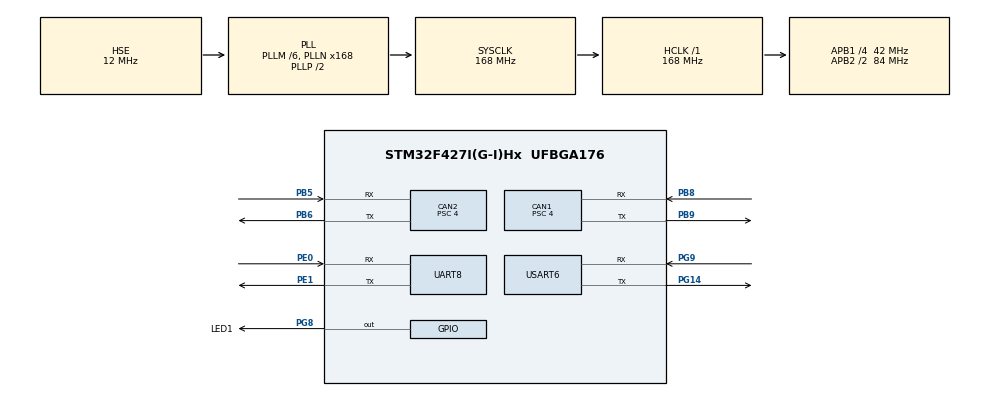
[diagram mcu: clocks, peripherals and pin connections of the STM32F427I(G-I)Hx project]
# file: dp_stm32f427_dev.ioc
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CAN1.BS1=CAN_BS1_7TQ
CAN1.BS2=CAN_BS2_3TQ
CAN1.CalculateBaudRate=954545
CAN1.CalculateTimeBit=1047
CAN1.CalculateTimeQuantum=95.23809523809524
CAN1.Mode=CAN_MODE_LOOPBACK
CAN1.NART=ENABLE
CAN1.Prescaler=4
CAN1.TTCM=DISABLE
CAN1.TXFP=ENABLE
CAN2.BS1=CAN_BS1_7TQ
CAN2.BS2=CAN_BS2_3TQ
CAN2.CalculateBaudRate=954545
CAN2.CalculateTimeBit=1047
CAN2.CalculateTimeQuantum=95.23809523809524
CAN2.Mode=CAN_MODE_SILENT_LOOPBACK
CAN2.NART=ENABLE
CAN2.Prescaler=4
CAN2.TXFP=ENABLE
Dma.Request0=USART6_RX
Dma.Request1=USART6_TX
Dma.Request2=UART8_RX
Dma.Request3=UART8_TX
Dma.UART8_RX.2.Direction=DMA_PERIPH_TO_MEMORY
Dma.UART8_RX.2.FIFOMode=DMA_FIFOMODE_DISABLE
Dma.UART8_RX.2.Instance=DMA1_Stream6
Dma.UART8_RX.2.MemDataAlignment=DMA_MDATAALIGN_BYTE
Dma.UART8_RX.2.MemInc=DMA_MINC_ENABLE
Dma.UART8_RX.2.Mode=DMA_NORMAL
Dma.UART8_RX.2.PeriphDataAlignment=DMA_PDATAALIGN_BYTE
Dma.UART8_RX.2.PeriphInc=DMA_PINC_DISABLE
Dma.UART8_RX.2.Priority=DMA_PRIORITY_LOW
Dma.UART8_TX.3.Direction=DMA_MEMORY_TO_PERIPH
Dma.UART8_TX.3.FIFOMode=DMA_FIFOMODE_DISABLE
Dma.UART8_TX.3.Instance=DMA1_Stream0
Dma.UART8_TX.3.MemDataAlignment=DMA_MDATAALIGN_BYTE
Dma.UART8_TX.3.MemInc=DMA_MINC_ENABLE
Dma.UART8_TX.3.Mode=DMA_NORMAL
Dma.UART8_TX.3.PeriphDataAlignment=DMA_PDATAALIGN_BYTE
Dma.UART8_TX.3.PeriphInc=DMA_PINC_DISABLE
Dma.UART8_TX.3.Priority=DMA_PRIORITY_LOW
Dma.USART6_RX.0.Direction=DMA_PERIPH_TO_MEMORY
Dma.USART6_RX.0.FIFOMode=DMA_FIFOMODE_DISABLE
Dma.USART6_RX.0.Instance=DMA2_Stream1
Dma.USART6_RX.0.MemDataAlignment=DMA_MDATAALIGN_BYTE
Dma.USART6_RX.0.MemInc=DMA_MINC_ENABLE
Dma.USART6_RX.0.Mode=DMA_NORMAL
Dma.USART6_RX.0.PeriphDataAlignment=DMA_PDATAALIGN_BYTE
Dma.USART6_RX.0.PeriphInc=DMA_PINC_DISABLE
Dma.USART6_RX.0.Priority=DMA_PRIORITY_LOW
Dma.USART6_TX.1.Direction=DMA_MEMORY_TO_PERIPH
Dma.USART6_TX.1.FIFOMode=DMA_FIFOMODE_DISABLE
Dma.USART6_TX.1.Instance=DMA2_Stream7
Dma.USART6_TX.1.MemDataAlignment=DMA_MDATAALIGN_BYTE
Dma.USART6_TX.1.MemInc=DMA_MINC_ENABLE
Dma.USART6_TX.1.Mode=DMA_NORMAL
Dma.USART6_TX.1.PeriphDataAlignment=DMA_PDATAALIGN_BYTE
Dma.USART6_TX.1.PeriphInc=DMA_PINC_DISABLE
Dma.USART6_TX.1.Priority=DMA_PRIORITY_LOW
FREERTOS.Tasks01=defaultTask,24,512,StartDefaultTask,Default,NULL,Dynamic,NULL,NULL
FREERTOS.configMINIMAL_STACK_SIZE=128
FREERTOS.configQUEUE_REGISTRY_SIZE=20
FREERTOS.configTOTAL_HEAP_SIZE=15360*2
Mcu.Family=STM32F4
Mcu.Name=STM32F427I(G-I)Hx
Mcu.Package=UFBGA176
NVIC.DMA1_Stream0_IRQn=true\:5\:0\:false\:false\:true\:true\:false\:true\:true
NVIC.DMA1_Stream6_IRQn=true\:5\:0\:false\:false\:true\:true\:false\:true\:true
NVIC.DMA2_Stream1_IRQn=true\:5\:0\:false\:false\:true\:true\:false\:true\:true
NVIC.DMA2_Stream7_IRQn=true\:5\:0\:false\:false\:true\:true\:false\:true\:true
NVIC.FPU_IRQn=true\:5\:0\:false\:false\:true\:true\:true\:false\:true
NVIC.PriorityGroup=NVIC_PRIORITYGROUP_4
NVIC.UART8_IRQn=true\:5\:0\:false\:false\:false\:true\:true\:true\:true
NVIC.USART6_IRQn=true\:5\:0\:false\:false\:false\:true\:true\:true\:true
PA13.Mode=Serial_Wire
PA13.Signal=SYS_JTMS-SWDIO
PA14.Mode=Serial_Wire
PA14.Signal=SYS_JTCK-SWCLK
PB5.Mode=CAN_Activate
PB5.Signal=CAN2_RX
PB6.Mode=CAN_Activate
PB6.Signal=CAN2_TX
PB8.Mode=CAN_Activate
PB8.Signal=CAN1_RX
PB9.Mode=CAN_Activate
PB9.Signal=CAN1_TX
PD8.Signal=USART3_TX
PD9.Signal=USART3_RX
PE0.Mode=Asynchronous
PE0.Signal=UART8_RX
PE1.Mode=Asynchronous
PE1.Signal=UART8_TX
PE7.Signal=UART7_RX
PE8.Signal=UART7_TX
PG14.Mode=Asynchronous
PG14.Signal=USART6_TX
PG8.GPIO_Label=LED1
PG8.Signal=GPIO_Output
PG9.Mode=Asynchronous
PG9.Signal=USART6_RX
PH0/OSC_IN.Mode=HSE-External-Oscillator
PH0/OSC_IN.Signal=RCC_OSC_IN
PH1/OSC_OUT.Mode=HSE-External-Oscillator
PH1/OSC_OUT.Signal=RCC_OSC_OUT
ProjectManager.HeapSize=0x200
ProjectManager.StackSize=0x400
ProjectManager.TargetToolchain=CMake
RCC.48MHZClocksFreq_Value=84000000
RCC.AHBFreq_Value=168000000
RCC.APB1CLKDivider=RCC_HCLK_DIV4
RCC.APB1Freq_Value=42000000
RCC.APB1TimFreq_Value=84000000
RCC.APB2CLKDivider=RCC_HCLK_DIV2
RCC.APB2Freq_Value=84000000
RCC.APB2TimFreq_Value=168000000
RCC.CortexFreq_Value=168000000
RCC.HCLKFreq_Value=168000000
RCC.HSE_VALUE=12000000
RCC.HSI_VALUE=16000000
RCC.LSE_VALUE=32768
RCC.PLLM=6
RCC.PLLN=168
RCC.PLLSourceVirtual=RCC_PLLSOURCE_HSE
RCC.SYSCLKFreq_VALUE=168000000
RCC.SYSCLKSource=RCC_SYSCLKSOURCE_PLLCLK
RCC.VCOOutputFreq_Value=336000000
UART8.VirtualMode=Asynchronous
USART6.VirtualMode=VM_ASYNC
VP_FREERTOS_VS_CMSIS_V2.Mode=CMSIS_V2
board=custom

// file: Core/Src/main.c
/* USER CODE BEGIN Header */
/* USER CODE END Header */
#include "main.h"
#include "cmsis_os.h"
#include "can.h"
#include "dma.h"
#include "usart.h"
#include "gpio.h"

void SystemClock_Config(void);
void MX_FREERTOS_Init(void);

int main(void)
{

  /* MCU Configuration--------------------------------------------------------*/

  /* Reset of all peripherals, Initializes the Flash interface and the Systick. */
  HAL_Init();

  /* Configure the system clock */
  SystemClock_Config();

  /* Initialize all configured peripherals */
  MX_GPIO_Init();
  MX_DMA_Init();
  MX_USART6_UART_Init();
  MX_UART8_Init();
  MX_CAN1_Init();
  MX_CAN2_Init();

  /* Init scheduler */
  osKernelInitialize();

  /* Call init function for freertos objects (in cmsis_os2.c) */
  MX_FREERTOS_Init();

  /* Start scheduler */
  osKernelStart();

  /* We should never get here as control is now taken by the scheduler */

  /* Infinite loop */

}

void SystemClock_Config(void)
{
  RCC_OscInitTypeDef RCC_OscInitStruct = {0};
  RCC_ClkInitTypeDef RCC_ClkInitStruct = {0};

  /** Configure the main internal regulator output voltage
  */
  __HAL_RCC_PWR_CLK_ENABLE();
  __HAL_PWR_VOLTAGESCALING_CONFIG(PWR_REGULATOR_VOLTAGE_SCALE1);

  /** Initializes the RCC Oscillators according to the specified parameters
  * in the RCC_OscInitTypeDef structure.
  */
  RCC_OscInitStruct.OscillatorType = RCC_OSCILLATORTYPE_HSE;
  RCC_OscInitStruct.HSEState = RCC_HSE_ON;
  RCC_OscInitStruct.PLL.PLLState = RCC_PLL_ON;
  RCC_OscInitStruct.PLL.PLLSource = RCC_PLLSOURCE_HSE;
  RCC_OscInitStruct.PLL.PLLM = 6;
  RCC_OscInitStruct.PLL.PLLN = 168;
  RCC_OscInitStruct.PLL.PLLP = RCC_PLLP_DIV2;
  RCC_OscInitStruct.PLL.PLLQ = 4;
  if (HAL_RCC_OscConfig(&RCC_OscInitStruct) != HAL_OK)
  {
    Error_Handler();
  }

  /** Initializes the CPU, AHB and APB buses clocks
  */
  RCC_ClkInitStruct.ClockType = RCC_CLOCKTYPE_HCLK|RCC_CLOCKTYPE_SYSCLK
                              |RCC_CLOCKTYPE_PCLK1|RCC_CLOCKTYPE_PCLK2;
  RCC_ClkInitStruct.SYSCLKSource = RCC_SYSCLKSOURCE_PLLCLK;
  RCC_ClkInitStruct.AHBCLKDivider = RCC_SYSCLK_DIV1;
  RCC_ClkInitStruct.APB1CLKDivider = RCC_HCLK_DIV4;
  RCC_ClkInitStruct.APB2CLKDivider = RCC_HCLK_DIV2;

  if (HAL_RCC_ClockConfig(&RCC_ClkInitStruct, FLASH_LATENCY_5) != HAL_OK)
  {
    Error_Handler();
  }
}

/* USER CODE BEGIN 4 */
#include <sys/time.h>
// 使用FreeRTOS时钟或HAL时钟源
#if configUSE_TICKLESS_IDLE == 0
int _gettimeofday(struct timeval *tv, void *tz) {
    static uint32_t start_tick = 0;
    uint32_t now = HAL_GetTick();

    // 初始化起始时间戳
    if(start_tick == 0) {
        start_tick = now;
    }

    // 转换为秒和微秒
    uint32_t elapsed = now - start_tick;
    tv->tv_sec = elapsed / 1000;
    tv->tv_usec = (elapsed % 1000) * 1000;

    return 0;
}
#else
// Tickless模式需使用RTC
int _gettimeofday(struct timeval *tv, void *tz) {
    RTC_TimeTypeDef rtc_time;
    RTC_DateTypeDef rtc_date;

    HAL_RTC_GetTime(&hrtc, &rtc_time, RTC_FORMAT_BIN);
    HAL_RTC_GetDate(&hrtc, &rtc_date, RTC_FORMAT_BIN);

    tv->tv_sec = rtc_time.Seconds + rtc_time.Minutes*60 + rtc_time.Hours*3600;
    tv->tv_usec = rtc_time.SubSeconds * (1000000/(hrtc.Init.SynchPrediv+1));

    return 0;
}
#endif
/* USER CODE END 4 */

void Error_Handler(void)
{
}

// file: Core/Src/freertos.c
/* USER CODE BEGIN Header */
/**
  ******************************************************************************
  * File Name          : freertos.c
  * Description        : Code for freertos applications
  ******************************************************************************
  * @attention
  *
  * Copyright (c) 2024 STMicroelectronics.
  * All rights reserved.
  *
  * This software is licensed under terms that can be found in the LICENSE file
  * in the root directory of this software component.
  * If no LICENSE file comes with this software, it is provided AS-IS.
  *
  ******************************************************************************
  */
/* USER CODE END Header */

#include "FreeRTOS.h"
#include "task.h"
#include "main.h"
#include "cmsis_os.h"

/* Definitions for defaultTask */
osThreadId_t defaultTaskHandle;
const osThreadAttr_t defaultTask_attributes = {
  .name = "defaultTask",
  .stack_size = 512 * 4,
  .priority = (osPriority_t) osPriorityNormal,
};

void StartDefaultTask(void *argument);

void MX_FREERTOS_Init(void); /* (MISRA C 2004 rule 8.1) */

void MX_FREERTOS_Init(void) {

  /* Create the thread(s) */
  /* creation of defaultTask */
  defaultTaskHandle = osThreadNew(StartDefaultTask, NULL, &defaultTask_attributes);

  /* USER CODE BEGIN RTOS_THREADS */
  /* add threads, ... */
  extern void osal_test_setup();
  osal_test_setup();
  /* USER CODE END RTOS_THREADS */

}

void StartDefaultTask(void *argument)
{
  for(;;)
  {
    osDelay(1);
  }
}
